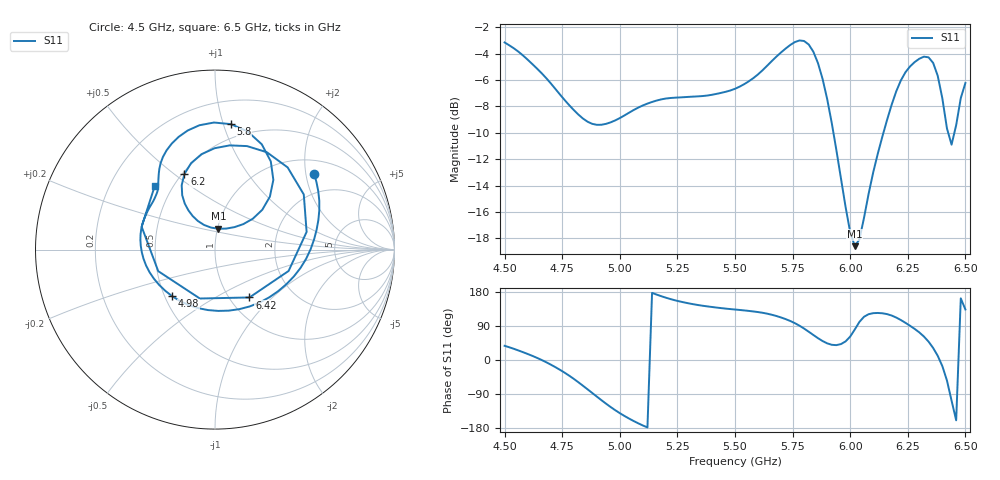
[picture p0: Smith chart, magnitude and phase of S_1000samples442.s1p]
! TOUCHSTONE file generated by CST MICROWAVE STUDIO
! Date and time: Fri Oct 28 04:45:23 2022
! Project name: L.cst
! Parameters = {Di=1.27; Epsilon_r=1.56; InnerDiameter=1.27; Length=2; Lf=10; Lg=60; OuterConductorThickness=0.2921; OuterDiameter=3.6; Wf=3; Wp=41.2; de=1.5; df=6.8; g=0.8; gx=2.97221; gy=0.548635; h=2.34; hf=1.524; px=13.5215; py=12.0193; w=9.7; wx=10.5493; wy=11.4706}
! Header version: 2018
! Port assignment regex: !\s*Touchstone port\s*([0-9]+)\s*=\s*(CST MWS port|CST DS port)\s*([0-9]+|Zmin|Zmax)\s*\(\"(.*)\"\)(\s*mode\s*([0-9]+))?.*
! Touchstone port assignment:
! Touchstone port 1 = CST MWS port 1 ("")
# GHz S DB R 50
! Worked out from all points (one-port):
!   101 points, 4.5 GHz to 6.5 GHz, reference 50 ohm
!   lowest |S11| = -18.6 dB at 6.02 GHz (marker M1), VSWR 1.27, Z = 50.5 + j11.9 ohm
!   |S11| at or under -10 dB: 5.927 GHz to 6.144 GHz (216.9 MHz wide, 3.59 % of centre); 6.425442 GHz to 6.452081 GHz (26.64 MHz wide, 0.414 % of centre)
!   S11 on the Smith chart (normalised r, x): 4.5 GHz: 1.36, +2.23; 4.98 GHz: 0.55, -0.33; 5.8 GHz: 0.38, +1.06; 6.2 GHz: 0.51, +0.54; 6.42 GHz: 1.23, -0.74; 6.5 GHz: 0.40, +0.37
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4.5  -3.15 37.4
4.64  -5.12 5.8
4.76  -7.50 -33.2
4.86  -9.15 -77.3
4.98  -9.06 -132.4
5  -8.88 -140.2
5.12  -7.78 -178.0
5.26  -7.32 154.5
5.5  -6.66 133.2
5.66  -4.56 119.4
5.76  -3.12 97.2
5.8  -3.04 82.9
5.88  -5.91 50.1
5.94  -11.30 39.2
6  -17.53 61.8
6.02  -18.58 80.6
6.12  -11.56 124.1
6.2  -6.85 112.0
6.26  -4.96 90.2
6.32  -4.23 61.9
6.36  -4.70 31.8
6.38  -5.68 10.9
6.4  -7.39 -16.2
6.42  -9.67 -54.2
6.44  -10.89 -107.2
6.46  -9.41 -159.2
6.48  -7.37 162.6
6.5  -6.22 133.3
